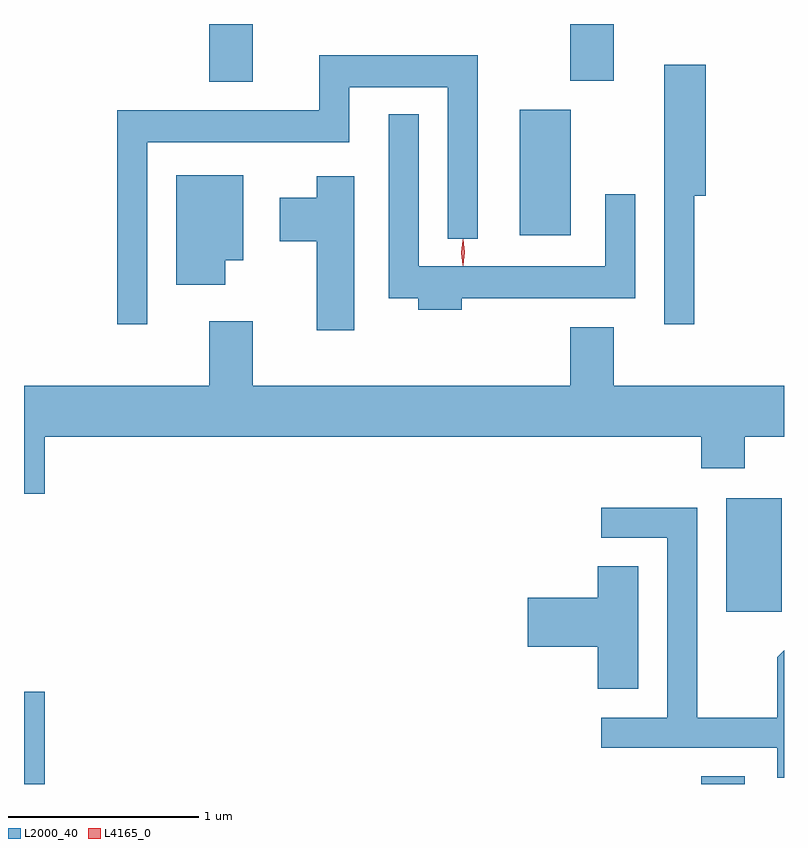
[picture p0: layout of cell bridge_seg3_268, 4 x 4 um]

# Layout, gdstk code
import gdstk
lib = gdstk.Library(unit=1e-6, precision=1e-09)
def R(c, l, rs):  # rectangles x0, y0, x1, y1
    for r in rs: c.add(gdstk.rectangle(r[:2], r[2:], *l))
def P(c, l, *ps):  # polygons
    for p in ps: c.add(gdstk.Polygon(p, *l))
L2000_40 = (2000, 40)
L4165_0 = (4165, 0)

bridge_seg3_268 = lib.new_cell('bridge_seg3_268')
R(bridge_seg3_268, L2000_40, [(1034.416,1133.069,1034.524,1133.554), (1037.981,1133.069,1038.209,1133.109), (1038.111,1133.976,1038.404,1134.574), (1037.026,1135.956,1037.294,1136.619), (1035.391,1136.766,1035.619,1137.069), (1037.291,1136.771,1037.519,1137.069)])
P(bridge_seg3_268, L2000_40, [(1035.064,1136.446),(1036.129,1136.446),(1036.129,1136.736),(1036.646,1136.736),(1036.646,1135.938),(1036.804,1135.938),(1036.804,1136.904),(1035.971,1136.904),(1035.971,1136.614),(1034.906,1136.614),(1034.906,1135.488),(1035.064,1135.488)],
  [(1037.944,1136.166),(1038.004,1136.166),(1038.004,1136.854),(1037.786,1136.854),(1037.786,1135.488),(1037.944,1135.488)],
  [(1036.719,1135.626),(1037.634,1135.626),(1037.634,1136.173),(1037.476,1136.173),(1037.476,1135.794),(1036.494,1135.794),(1036.494,1136.593),(1036.336,1136.593),(1036.336,1135.626),(1036.491,1135.626),(1036.491,1135.566),(1036.719,1135.566)],
  [(1035.474,1135.826),(1035.569,1135.826),(1035.569,1136.274),(1035.216,1136.274),(1035.216,1135.696),(1035.474,1135.696)],
  [(1036.154,1136.269),(1035.956,1136.269),(1035.956,1136.154),(1035.761,1136.154),(1035.761,1135.926),(1035.956,1135.926),(1035.956,1135.456),(1036.154,1135.456)],
  [(1034.524,1134.896),(1037.981,1134.896),(1037.981,1134.731),(1038.209,1134.731),(1038.209,1134.896),(1038.416,1134.896),(1038.416,1135.164),(1037.519,1135.164),(1037.519,1135.474),(1037.291,1135.474),(1037.291,1135.164),(1035.619,1135.164),(1035.619,1135.504),(1035.391,1135.504),(1035.391,1135.164),(1034.416,1135.164),(1034.416,1134.596),(1034.524,1134.596)],
  [(1038.416,1133.772),(1038.381,1133.737),(1038.381,1133.419),(1037.959,1133.419),(1037.959,1134.524),(1037.453,1134.524),(1037.453,1134.366),(1037.801,1134.366),(1037.801,1133.419),(1037.453,1133.419),(1037.453,1133.261),(1038.381,1133.261),(1038.381,1133.101),(1038.416,1133.101)],
  [(1037.649,1134.214),(1037.436,1134.214),(1037.436,1134.049),(1037.066,1134.049),(1037.066,1133.791),(1037.436,1133.791),(1037.436,1133.571),(1037.649,1133.571)])
P(bridge_seg3_268, L4165_0, [(1036.727,1135.797),(1036.727,1135.798),(1036.717,1135.867),(1036.727,1135.936),(1036.727,1135.936),(1036.728,1135.936),(1036.737,1135.867),(1036.728,1135.798)],
  [(1036.725,1135.8),(1036.716,1135.866),(1036.725,1135.932),(1036.725,1135.933),(1036.726,1135.932),(1036.735,1135.866),(1036.726,1135.8),(1036.726,1135.8)])

lib.write_gds('bridge_seg3_268.gds')
